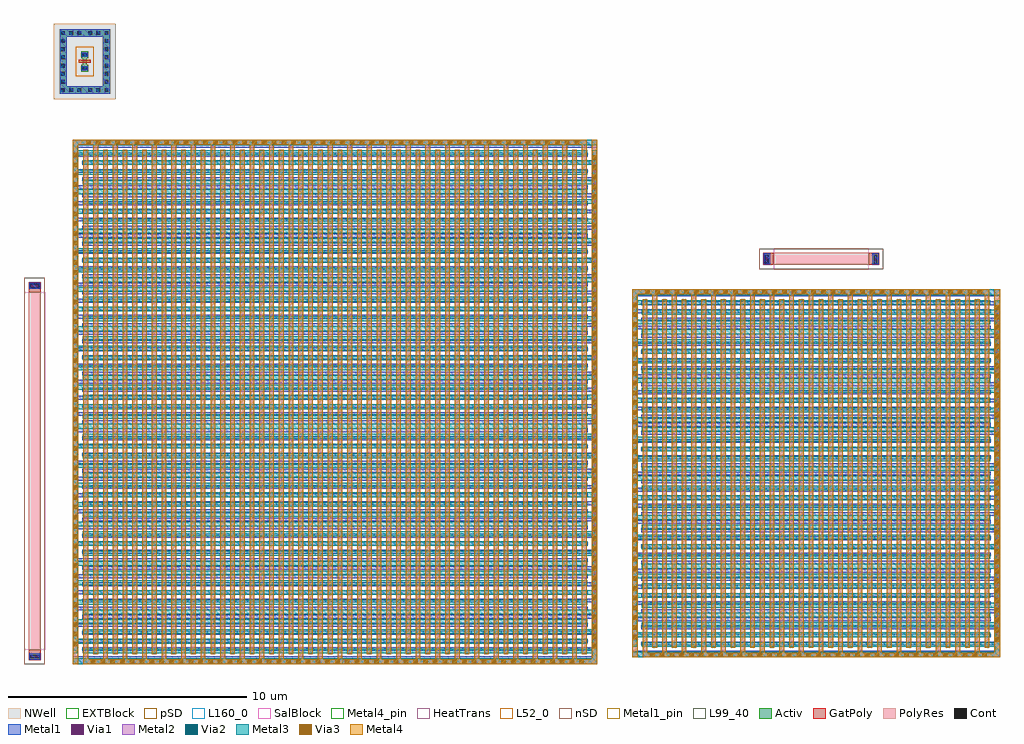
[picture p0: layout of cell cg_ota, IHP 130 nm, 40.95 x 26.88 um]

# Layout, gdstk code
from math import pi, radians
import gdstk
lib = gdstk.Library(unit=1e-6, precision=1e-09)
def R(c, l, rs):  # rectangles x0, y0, x1, y1
    for r in rs: c.add(gdstk.rectangle(r[:2], r[2:], *l))
def A(c, l, x, y, w, h, nx, ny, dx, dy):  # array of equal rectangles
    R(c, l, [(x+i*dx, y+j*dy, x+i*dx+w, y+j*dy+h) for i in range(nx) for j in range(ny)])
def P(c, l, *ps):  # polygons
    for p in ps: c.add(gdstk.Polygon(p, *l))
Activ = (1, 0)
GatPoly = (5, 0)
Cont = (6, 0)
nSD = (7, 0)
Metal1 = (8, 0)
Metal1_pin = (8, 2)
Metal2 = (10, 0)
pSD = (14, 0)
Via1 = (19, 0)
SalBlock = (28, 0)
Via2 = (29, 0)
Metal3 = (30, 0)
NWell = (31, 0)
Via3 = (49, 0)
Metal4 = (50, 0)
Metal4_pin = (50, 2)
HeatTrans = (51, 0)
L52_0 = (52, 0)
L99_40 = (99, 40)
EXTBlock = (111, 0)
PolyRes = (128, 0)
L160_0 = (160, 0)

cap_cmomf = lib.new_cell('cap_cmomf')
A(cap_cmomf, Metal1, 0.5, 0, 0.16, 15.05, 22, 1, 0.68, 0)
A(cap_cmomf, Metal1, 0.84, 0.39, 0.16, 15.05, 21, 1, 0.68, 0)
R(cap_cmomf, Metal1, [(0,0,0.28,15.44), (0,0,14.94,0.21), (15.16,0,15.44,15.44), (0.5,15.23,15.44,15.44)])
A(cap_cmomf, Metal2, 0.42, 0.445, 15.02, 0.2, 1, 18, 0, 0.82)
A(cap_cmomf, Metal2, 0, 0.855, 15.02, 0.2, 1, 18, 0, 0.82)
R(cap_cmomf, Metal2, [(0,0,15.44,0.235), (0,0,0.205,14.995), (15.235,0.445,15.44,15.44), (0,15.205,15.44,15.44)])
A(cap_cmomf, Via1, 0.86, 0.01, 0.19, 0.19, 34, 1, 0.41, 0)
A(cap_cmomf, Via1, 0.01, 0.555, 0.19, 0.19, 1, 35, 0, 0.41)
A(cap_cmomf, Via1, 15.24, 0.755, 0.19, 0.19, 1, 35, 0, 0.41)
A(cap_cmomf, Via1, 0.755, 15.24, 0.19, 0.19, 35, 1, 0.41, 0)
A(cap_cmomf, Via2, 0.655, 0.005, 0.19, 0.19, 35, 1, 0.41, 0)
A(cap_cmomf, Via2, 0.005, 0.555, 0.19, 0.19, 1, 35, 0, 0.41)
A(cap_cmomf, Via2, 15.245, 0.755, 0.19, 0.19, 1, 35, 0, 0.41)
A(cap_cmomf, Via2, 0.755, 15.245, 0.19, 0.19, 35, 1, 0.41, 0)
A(cap_cmomf, Metal3, 0.445, 0, 0.2, 15.03, 18, 1, 0.82, 0)
A(cap_cmomf, Metal3, 0.855, 0.41, 0.2, 15.03, 18, 1, 0.82, 0)
R(cap_cmomf, Metal3, [(0,0,0.235,15.44), (0,0,14.995,0.2), (15.205,0,15.44,15.44), (0.445,15.24,15.44,15.44)])
A(cap_cmomf, Via3, 0.655, 0.005, 0.19, 0.19, 35, 1, 0.41, 0)
A(cap_cmomf, Via3, 0.005, 0.555, 0.19, 0.19, 1, 35, 0, 0.41)
A(cap_cmomf, Via3, 15.245, 0.755, 0.19, 0.19, 1, 35, 0, 0.41)
A(cap_cmomf, Via3, 0.755, 15.245, 0.19, 0.19, 35, 1, 0.41, 0)
A(cap_cmomf, Metal4, 0.41, 0.445, 15.03, 0.2, 1, 18, 0, 0.82)
A(cap_cmomf, Metal4, 0, 0.855, 15.03, 0.2, 1, 18, 0, 0.82)
R(cap_cmomf, Metal4, [(0,0,15.44,0.235), (0,0,0.2,14.995), (15.24,0.445,15.44,15.44), (0,15.205,15.44,15.44)])
R(cap_cmomf, Metal4_pin, [(0,7.395,0.2,7.595), (7.62,15.24,7.82,15.44)])
R(cap_cmomf, L99_40, [(0,0,15.44,15.44)])
R(cap_cmomf, L160_0, [(0,0,15.44,15.44)])
cap_cmomf.add(gdstk.Label('cap_cmomf C=306.813fF', (0,-0.5), layer=63, texttype=0))

cap_cmomf_2 = lib.new_cell('cap_cmomf$2')
A(cap_cmomf_2, Metal1, 0.55, 0, 0.16, 21.61, 31, 1, 0.68, 0)
A(cap_cmomf_2, Metal1, 0.89, 0.39, 0.16, 21.61, 31, 1, 0.68, 0)
R(cap_cmomf_2, Metal1, [(0,0,0.33,22), (0,0,21.45,0.21), (21.67,0,22,22), (0.55,21.79,22,22)])
A(cap_cmomf_2, Metal2, 0.42, 0.445, 21.58, 0.2, 1, 26, 0, 0.82)
A(cap_cmomf_2, Metal2, 0, 0.855, 21.58, 0.2, 1, 26, 0, 0.82)
R(cap_cmomf_2, Metal2, [(0,0,22,0.235), (0,0,0.205,21.555), (21.795,0.445,22,22), (0,21.765,22,22)])
A(cap_cmomf_2, Via1, 0.86, 0.01, 0.19, 0.19, 50, 1, 0.41, 0)
A(cap_cmomf_2, Via1, 0.01, 0.555, 0.19, 0.19, 1, 51, 0, 0.41)
A(cap_cmomf_2, Via1, 21.8, 0.755, 0.19, 0.19, 1, 51, 0, 0.41)
A(cap_cmomf_2, Via1, 0.755, 21.8, 0.19, 0.19, 51, 1, 0.41, 0)
A(cap_cmomf_2, Via2, 0.655, 0.005, 0.19, 0.19, 51, 1, 0.41, 0)
A(cap_cmomf_2, Via2, 0.005, 0.555, 0.19, 0.19, 1, 51, 0, 0.41)
A(cap_cmomf_2, Via2, 21.805, 0.755, 0.19, 0.19, 1, 51, 0, 0.41)
A(cap_cmomf_2, Via2, 0.755, 21.805, 0.19, 0.19, 51, 1, 0.41, 0)
A(cap_cmomf_2, Metal3, 0.445, 0, 0.2, 21.59, 26, 1, 0.82, 0)
A(cap_cmomf_2, Metal3, 0.855, 0.41, 0.2, 21.59, 26, 1, 0.82, 0)
R(cap_cmomf_2, Metal3, [(0,0,0.235,22), (0,0,21.555,0.2), (21.765,0,22,22), (0.445,21.8,22,22)])
A(cap_cmomf_2, Via3, 0.655, 0.005, 0.19, 0.19, 51, 1, 0.41, 0)
A(cap_cmomf_2, Via3, 0.005, 0.555, 0.19, 0.19, 1, 51, 0, 0.41)
A(cap_cmomf_2, Via3, 21.805, 0.755, 0.19, 0.19, 1, 51, 0, 0.41)
A(cap_cmomf_2, Via3, 0.755, 21.805, 0.19, 0.19, 51, 1, 0.41, 0)
A(cap_cmomf_2, Metal4, 0.41, 0.445, 21.59, 0.2, 1, 26, 0, 0.82)
A(cap_cmomf_2, Metal4, 0, 0.855, 21.59, 0.2, 1, 26, 0, 0.82)
R(cap_cmomf_2, Metal4, [(0,0,22,0.235), (0,0,0.2,21.555), (21.8,0.445,22,22), (0,21.765,22,22)])
R(cap_cmomf_2, Metal4_pin, [(0,10.675,0.2,10.875), (10.9,21.8,11.1,22)])
R(cap_cmomf_2, L99_40, [(0,0,22,22)])
R(cap_cmomf_2, L160_0, [(0,0,22,22)])
cap_cmomf_2.add(gdstk.Label('cap_cmomf C=622.908fF', (0,-0.5), layer=63, texttype=0))

rhigh = lib.new_cell('rhigh')
R(rhigh, GatPoly, [(0,-0.43,0.5,0), (0,4,0.5,4.43)])
R(rhigh, Cont, [(0.07,-0.36,0.43,-0.2), (0.07,4.2,0.43,4.36)])
R(rhigh, nSD, [(-0.18,-0.61,0.68,0.18), (-0.18,0,0.68,4), (-0.18,0,0.68,4), (-0.18,3.82,0.68,4.61)])
R(rhigh, Metal1, [(0.02,-0.41,0.48,-0.15), (0.02,4.15,0.48,4.41)])
R(rhigh, Metal1_pin, [(0.02,-0.41,0.48,-0.15), (0.02,4.15,0.48,4.41)])
R(rhigh, pSD, [(-0.18,-0.61,0.68,0.18), (-0.18,0,0.68,4), (-0.18,0,0.68,4), (-0.18,3.82,0.68,4.61)])
R(rhigh, SalBlock, [(-0.2,0,0.7,4)])
R(rhigh, L52_0, [(0,0,0.5,4)])
R(rhigh, EXTBlock, [(-0.18,-0.61,0.68,0.18), (-0.2,0,0.7,4), (-0.18,3.82,0.68,4.61)])
R(rhigh, PolyRes, [(0,0,0.5,4)])
rhigh.add(gdstk.Label('rhigh r=12146.087', (0.25,2), layer=63, texttype=0))
rhigh.add(gdstk.Label('rhigh', (0.25,2), layer=52, texttype=0))

rhigh_1 = lib.new_cell('rhigh$1')
R(rhigh_1, GatPoly, [(0,-0.43,0.5,0), (0,15,0.5,15.43)])
R(rhigh_1, Cont, [(0.07,-0.36,0.43,-0.2), (0.07,15.2,0.43,15.36)])
R(rhigh_1, nSD, [(-0.18,-0.61,0.68,0.18), (-0.18,0,0.68,15), (-0.18,0,0.68,15), (-0.18,14.82,0.68,15.61)])
R(rhigh_1, Metal1, [(0.02,-0.41,0.48,-0.15), (0.02,15.15,0.48,15.41)])
R(rhigh_1, Metal1_pin, [(0.02,-0.41,0.48,-0.15), (0.02,15.15,0.48,15.41)])
R(rhigh_1, pSD, [(-0.18,-0.61,0.68,0.18), (-0.18,0,0.68,15), (-0.18,0,0.68,15), (-0.18,14.82,0.68,15.61)])
R(rhigh_1, SalBlock, [(-0.2,0,0.7,15)])
R(rhigh_1, L52_0, [(0,0,0.5,15)])
R(rhigh_1, EXTBlock, [(-0.18,-0.61,0.68,0.18), (-0.2,0,0.7,15), (-0.18,14.82,0.68,15.61)])
R(rhigh_1, PolyRes, [(0,0,0.5,15)])
rhigh_1.add(gdstk.Label('rhigh r=44667.826', (0.25,7.5), layer=63, texttype=0))
rhigh_1.add(gdstk.Label('rhigh', (0.25,7.5), layer=52, texttype=0))

pmos = lib.new_cell('pmos')
R(pmos, Activ, [(0,0,0.3,0.3), (0.57,0,0.87,0.3), (0,0.075,0.87,0.225)])
P(pmos, Activ, [(-0.91,-0.91),(-0.91,0.91),(-0.61,0.91),(-0.61,-0.61),(1.48,-0.61),(1.48,0.91),(-0.91,0.91),(-0.91,1.21),(1.78,1.21),(1.78,-0.91)])
R(pmos, GatPoly, [(0.37,-0.105,0.5,0.405), (0.37,-0.105,0.5,0.405)])
A(pmos, Cont, -0.84, -0.84, 0.16, 0.16, 4, 2, 0.34, 1.82)
A(pmos, Cont, 0.53, -0.84, 0.16, 0.16, 4, 2, 0.34, 1.82)
R(pmos, Cont, [(-0.84,-0.5,-0.68,-0.34), (1.55,-0.5,1.71,-0.34), (-0.84,-0.16,-0.68,0), (1.55,-0.16,1.71,0), (0.07,0.07,0.23,0.23), (0.64,0.07,0.8,0.23), (-0.84,0.3,-0.68,0.46), (1.55,0.3,1.71,0.46), (-0.84,0.64,-0.68,0.8), (1.55,0.64,1.71,0.8)])
R(pmos, Metal1, [(-0.91,-0.91,1.78,-0.61), (-0.91,-0.61,-0.61,0.91), (1.48,-0.61,1.78,0.91), (0.07,0.02,0.23,0.28), (0.07,0.02,0.23,0.28), (0.64,0.02,0.8,0.28), (0.64,0.02,0.8,0.28), (-0.91,0.91,1.78,1.21)])
R(pmos, pSD, [(-0.18,-0.225,1.05,0.525)])
R(pmos, NWell, [(-1.15,-1.15,2.02,1.45), (-0.31,-0.31,1.18,0.61)])
R(pmos, HeatTrans, [(0.37,-0.105,0.5,0.405)])
pmos.add(gdstk.Label('pmos', (0.435,0.15), layer=63, texttype=0))
pmos.add(gdstk.Label('well', (0.435,-0.76), layer=63, texttype=0))
pmos.add(gdstk.Label('well', (0.435,0.15), layer=31, texttype=0))
pmos.add(gdstk.Label('pmos', (0.435,0.15), layer=51, texttype=0))

cg_ota = lib.new_cell('cg_ota')
cg_ota.add(gdstk.Reference(cap_cmomf, (15.45,12.78), rotation=pi/2))
cg_ota.add(gdstk.Reference(cap_cmomf_2, (-1.45,12.5), rotation=pi/2))
cg_ota.add(gdstk.Reference(rhigh, (5.95,29.75), rotation=3*pi/2))
cg_ota.add(gdstk.Reference(rhigh_1, (-24.8,28.1), rotation=pi))
cg_ota.add(gdstk.Reference(pmos, (-22.8,37.35), rotation=pi/2))

lib.write_gds('cg_ota.gds')
